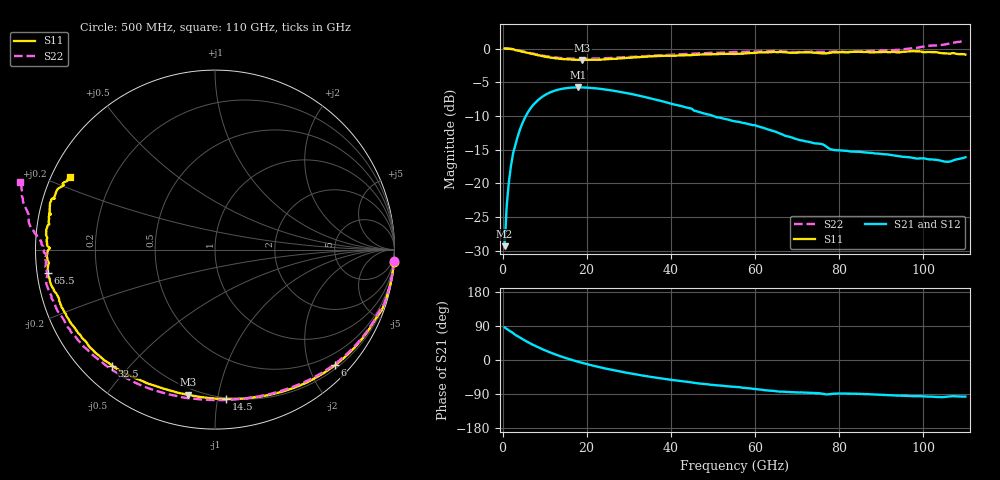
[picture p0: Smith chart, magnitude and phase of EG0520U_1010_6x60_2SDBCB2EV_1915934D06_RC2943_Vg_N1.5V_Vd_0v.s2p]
!File name = EG0520U_1010_6x60_2SDBCB2EV_1915934D06_RC2943_Vg_N1.5V_Vd_0v.s2p
!Base file name = EG0520U_1010_6x60_2SDBCB2EV_1915934D06_RC2943
!Date = 8/23/2019
!Time = 1:01 PM
!Test duration(min) = 0.15
!Test = S-Parameters
!MPTS version = 8.91.5
!State File = C:\Data\PNA\20190821205423\S-Parameters_2019-08-23.sta
!Cal File =
!ComputerName = CMPE-LAB-6
!Comments =
!Attenuation = 0
!Z0 = 50
!Input Power(dBm) = -13.00
!Device ID = EG0520U_1010_6x60_2SDBCB2EV
!Row = 29
!Column = 43
!Technology = QPHT09
!Lot/Wafer = 1915934D06
!Gate Size = 360
!Mask = EG0520
!Cal Standards = GaAs BCB
!Cal Kit = EG2306
!Job Number = 20190821205423
!Device Type = FET
!set_Vg(v) = -1.500
!set_Vd(v) = 0.000
!file_name = EG0520U_1010_6x60_2SDBCB2EV_1915934D06_RC2943_Vg_N1.5V_Vd_0v.s2p
!Vd(V) = 0.000
!Vd(mA) = 0.002
!Vg(V) = -1.500
!Vg(mA) = -0.001
# GHz  S  DB  R  50
!%	Freq(GHz)  s11(dB)  s11(deg)  s21(dB)  s21(deg)  s12(dB)  s12(deg)  s22(dB)  s22(deg)
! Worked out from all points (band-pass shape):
!   220 points, 500 MHz to 110 GHz, reference 50 ohm
!   highest |S21| = -5.77 dB at 18 GHz (marker M1); lowest = -29.3 dB at 500 MHz (marker M2)
!   |S21| within 3 dB of the highest: 6.802 GHz to 43.79 GHz (36.99 GHz wide, 146 % of centre)
!   lowest |S11| = -1.7 dB at 19 GHz (marker M3), VSWR 10.28, Z = 8.16 - j40.8 ohm
!   |S11| at or under -10 dB: nowhere
!   |S22| runs from -1.5 to 1.2 dB; largest |S21 - S12| = 0.0041
!   S11 on the Smith chart (normalised r, x): 500 MHz: 0, -28; 6 GHz: 0.26, -2.46; 14.5 GHz: 0.19, -1.06; 32.5 GHz: 0.09, -0.45; 65.5 GHz: 0.03, -0.07; 110 GHz: 0.05, +0.24
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0.5  -0.01 -4.1  -29.34 85.8  -29.34 85.9  -0.00 -3.7
1  -0.02 -8.1  -23.36 82.2  -23.36 82.2  -0.02 -7.3
1.5  -0.04 -12.2  -19.90 78.5  -19.90 78.5  -0.04 -11.0
2.5  -0.10 -20.1  -15.62 71.2  -15.63 71.2  -0.10 -18.1
4  -0.35 -30.4  -12.29 60.0  -12.30 60.0  -0.33 -27.4
6  -0.64 -43.9  -9.51 47.3  -9.53 47.3  -0.59 -39.6
9.5  -1.13 -63.6  -7.14 28.4  -7.16 28.4  -1.05 -57.7
14.5  -1.57 -85.6  -5.94 7.1  -5.96 7.1  -1.45 -78.3
18  -1.68 -97.6  -5.77 -4.8  -5.79 -4.9  -1.53 -90.2
19  -1.70 -100.6  -5.78 -7.8  -5.79 -7.9  -1.53 -93.2
25.5  -1.56 -117.4  -6.19 -24.9  -6.20 -25.0  -1.42 -110.7
32.5  -1.27 -131.6  -7.00 -39.5  -7.02 -39.6  -1.18 -125.8
37  -1.11 -139.3  -7.68 -47.5  -7.68 -47.7  -1.03 -134.2
46.5  -0.90 -153.1  -9.39 -61.8  -9.41 -61.9  -0.71 -149.2
55.5  -0.80 -163.0  -10.85 -71.1  -10.88 -71.4  -0.51 -159.6
65.5  -0.54 -172.2  -12.52 -83.1  -12.61 -83.3  -0.39 -169.4
73.5  -0.60 -179.0  -13.98 -87.0  -14.00 -87.2  -0.45 -174.1
78.5  -0.57 178.4  -15.03 -89.2  -15.06 -89.2  -0.47 -176.8
92  -0.54 168.0  -15.78 -92.9  -15.80 -92.8  -0.24 177.2
100.5  -0.53 162.5  -16.34 -96.2  -16.38 -96.3  0.31 172.9
106.5  -0.76 156.9  -16.76 -95.9  -16.78 -96.3  0.76 166.8
110  -0.90 153.3  -16.14 -96.5  -16.11 -97.0  1.20 160.9
